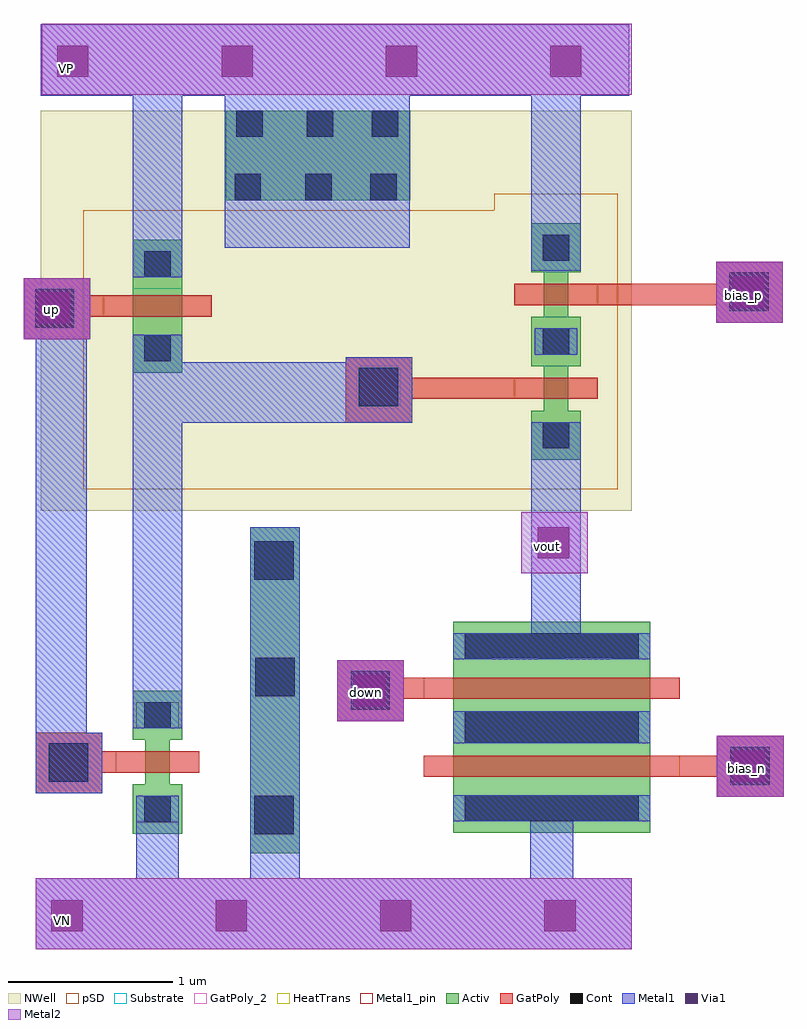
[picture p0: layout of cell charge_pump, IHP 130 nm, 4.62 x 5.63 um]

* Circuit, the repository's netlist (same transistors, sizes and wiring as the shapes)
* Extracted by KLayout with SG13G2 LVS runset on : 11/07/2025 21:27

.SUBCKT charge_pump
M$1 9 5 8 9 sg13_lv_nmos L=0.13u W=1.2u AS=0.408p AD=0.207p PS=3.08u PD=1.545u
M$2 8 2 7 9 sg13_lv_nmos L=0.13u W=1.2u AS=0.207p AD=0.408p PS=1.545u PD=3.08u
M$3 7 3 10 6 sg13_lv_pmos L=0.13u W=0.15u AS=0.1005p AD=0.0555p PS=1.34u
+ PD=0.74u
M$4 10 4 6 6 sg13_lv_pmos L=0.13u W=0.15u AS=0.0555p AD=0.1005p PS=0.74u
+ PD=1.34u
M$5 3 1 6 6 sg13_lv_pmos L=0.13u W=0.3u AS=0.102p AD=0.102p PS=1.28u PD=1.28u
M$6 9 1 3 9 sg13_lv_nmos L=0.13u W=0.15u AS=0.1005p AD=0.1005p PS=1.34u PD=1.34u
.ENDS charge_pump

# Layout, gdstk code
from math import pi, radians
import gdstk
lib = gdstk.Library(unit=1e-6, precision=1e-09)
def R(c, l, rs):  # rectangles x0, y0, x1, y1
    for r in rs: c.add(gdstk.rectangle(r[:2], r[2:], *l))
def A(c, l, x, y, w, h, nx, ny, dx, dy):  # array of equal rectangles
    R(c, l, [(x+i*dx, y+j*dy, x+i*dx+w, y+j*dy+h) for i in range(nx) for j in range(ny)])
Activ = (1, 0)
GatPoly = (5, 0)
GatPoly_2 = (5, 2)
Cont = (6, 0)
Metal1 = (8, 0)
Metal1_pin = (8, 2)
Metal2 = (10, 0)
pSD = (14, 0)
Via1 = (19, 0)
NWell = (31, 0)
Substrate = (40, 0)
HeatTrans = (51, 0)

nmos_1 = lib.new_cell('nmos$1')
R(nmos_1, Activ, [(0,0,0.3,0.3), (0,0,0.81,1.2), (0.51,0,0.81,0.3)])
R(nmos_1, GatPoly, [(0.34,-0.18,0.47,1.38)])
R(nmos_1, GatPoly_2, [(0.34,-0.18,0.47,1.38)])
A(nmos_1, Cont, 0.07, 0.07, 0.16, 0.16, 1, 3, 0, 0.45)
A(nmos_1, Cont, 0.58, 0.07, 0.16, 0.16, 1, 3, 0, 0.45)
R(nmos_1, Metal1, [(0.07,0,0.23,1.2), (0.58,0,0.74,1.2)])
R(nmos_1, Metal1_pin, [(0.07,0,0.23,1.2), (0.58,0,0.74,1.2)])
R(nmos_1, HeatTrans, [(0.34,-0.18,0.47,1.38)])
nmos_1.add(gdstk.Label('nmos', (0.405,0.6), layer=63, texttype=0))
nmos_1.add(gdstk.Label('nmos', (0.405,0.6), layer=51, texttype=0))

pmos = lib.new_cell('pmos')
R(pmos, Activ, [(0,0,0.3,0.3), (0.57,0,0.87,0.3), (0,0.075,0.87,0.225)])
R(pmos, GatPoly, [(0.37,-0.105,0.5,0.405), (0.37,-0.105,0.5,0.405)])
R(pmos, Cont, [(0.07,0.07,0.23,0.23), (0.64,0.07,0.8,0.23)])
R(pmos, Metal1, [(0.07,0.02,0.23,0.28), (0.07,0.02,0.23,0.28), (0.64,0.02,0.8,0.28), (0.64,0.02,0.8,0.28)])
R(pmos, pSD, [(-0.18,-0.225,1.05,0.525)])
R(pmos, NWell, [(-0.31,-0.31,1.18,0.61)])
R(pmos, Substrate, [(0.57,0,0.87,0.3)])
R(pmos, HeatTrans, [(0.37,-0.105,0.5,0.405)])
pmos.add(gdstk.Label('pmos', (0.435,0.15), layer=63, texttype=0))
pmos.add(gdstk.Label('pmos', (0.435,0.15), layer=51, texttype=0))

nmos = lib.new_cell('nmos')
R(nmos, Activ, [(0,0,0.3,0.3), (0.57,0,0.87,0.3), (0,0.075,0.87,0.225)])
R(nmos, GatPoly, [(0.37,-0.105,0.5,0.405)])
R(nmos, GatPoly_2, [(0.37,-0.105,0.5,0.405)])
R(nmos, Cont, [(0.07,0.07,0.23,0.23), (0.64,0.07,0.8,0.23)])
R(nmos, Metal1, [(0.07,0.02,0.23,0.28), (0.64,0.02,0.8,0.28)])
R(nmos, Metal1_pin, [(0.07,0.02,0.23,0.28), (0.64,0.02,0.8,0.28)])
R(nmos, HeatTrans, [(0.37,-0.105,0.5,0.405)])
nmos.add(gdstk.Label('nmos', (0.435,0.15), layer=63, texttype=0))
nmos.add(gdstk.Label('nmos', (0.435,0.15), layer=51, texttype=0))

pmos_1 = lib.new_cell('pmos$1')
R(pmos_1, Activ, [(0,0,0.3,0.3), (0,0,0.81,0.3), (0.51,0,0.81,0.3)])
R(pmos_1, GatPoly, [(0.34,-0.18,0.47,0.48), (0.34,-0.18,0.47,0.48)])
R(pmos_1, Cont, [(0.07,0.07,0.23,0.23), (0.58,0.07,0.74,0.23)])
R(pmos_1, Metal1, [(0.07,0,0.23,0.3), (0.07,0,0.23,0.3), (0.58,0,0.74,0.3), (0.58,0,0.74,0.3)])
R(pmos_1, pSD, [(-0.18,-0.3,0.99,0.6)])
R(pmos_1, NWell, [(-0.31,-0.31,1.12,0.61)])
R(pmos_1, Substrate, [(0.51,0,0.81,0.3)])
R(pmos_1, HeatTrans, [(0.34,-0.18,0.47,0.48)])
pmos_1.add(gdstk.Label('pmos', (0.405,0.15), layer=63, texttype=0))
pmos_1.add(gdstk.Label('pmos', (0.405,0.15), layer=51, texttype=0))

charge_pump = lib.new_cell('charge_pump')
R(charge_pump, Activ, [(-3.015,-3.095,-2.715,-1.11), (-3.165,0.88,-2.04,1.425)])
R(charge_pump, GatPoly, [(-0.175,-2.75,0.23,-2.38), (-4.32,-2.73,-3.915,-2.36), (-0.4,-2.63,-0.175,-2.5), (-3.915,-2.605,-3.835,-2.475), (-2.485,-2.29,-2.08,-1.92), (-2.08,-2.155,-1.96,-2.025), (-2.435,-0.475,-2.03,-0.075), (-2.03,-0.33,-1.955,-0.2), (-1.955,-0.33,-1.41,-0.2), (-4.395,0.035,-3.99,0.405), (-0.18,0.135,0.225,0.505), (-3.99,0.17,-3.91,0.3), (-0.9,0.24,-0.18,0.37)])
R(charge_pump, Cont, [(-2.99,-2.98,-2.75,-2.745), (-1.71,-2.9,-0.65,-2.74), (-0.095,-2.68,0.145,-2.445), (-4.24,-2.66,-4,-2.425), (-1.71,-2.425,-0.65,-2.23), (-2.405,-2.22,-2.165,-1.985), (-2.985,-2.14,-2.745,-1.905), (-1.71,-1.905,-0.65,-1.755), (-2.99,-1.43,-2.75,-1.195), (-2.355,-0.375,-2.115,-0.14), (-4.325,0.105,-4.085,0.34), (-0.1,0.205,0.14,0.44), (-3.11,0.88,-2.95,1.04), (-2.68,0.88,-2.52,1.04), (-2.285,0.88,-2.125,1.04), (-3.1,1.265,-2.94,1.425), (-2.67,1.265,-2.51,1.425), (-2.275,1.265,-2.115,1.425)])
R(charge_pump, Metal1, [(-4.32,-3.68,-0.695,-3.245), (-3.71,-3.245,-3.45,-2.905), (-3.015,-3.245,-2.715,-1.11), (-1.31,-3.245,-1.05,-2.9), (-0.175,-2.75,0.23,-2.38), (-4.32,-2.73,-3.915,-2.36), (-4.32,-2.36,-4.01,0.035), (-3.73,-2.335,-3.43,-0.1), (-2.485,-2.29,-2.08,-1.92), (-1.305,-1.755,-1.005,-0.47), (-3.43,-0.475,-2.435,-0.105), (-2.435,-0.475,-2.03,-0.075), (-4.395,0.035,-3.99,0.405), (-0.18,0.135,0.225,0.505), (-1.305,0.45,-1.005,1.515), (-3.73,0.57,-3.43,1.515), (-3.17,0.59,-2.045,1.515), (-4.29,1.515,-0.71,1.95)])
R(charge_pump, Metal2, [(-4.32,-3.68,-0.695,-3.245), (-0.175,-2.75,0.23,-2.38), (-2.485,-2.29,-2.08,-1.92), (-1.365,-1.39,-0.96,-1.02), (-4.395,0.035,-3.99,0.405), (-0.18,0.135,0.225,0.505), (-4.285,1.52,-0.695,1.955)])
R(charge_pump, pSD, [(-3.015,-3.095,-2.715,-1.11), (-4.03,-0.88,-1.175,0.82)])
A(charge_pump, Via1, -4.225, -3.57, 0.19, 0.19, 4, 1, 1, 0)
A(charge_pump, Via1, -4.19, 1.63, 0.19, 0.19, 4, 1, 1, 0)
R(charge_pump, Via1, [(-0.075,-2.66,0.115,-2.47), (-2.385,-2.2,-2.195,-2.01), (-1.265,-1.3,-1.075,-1.11), (-4.305,0.13,-4.115,0.32), (-0.08,0.225,0.11,0.415)])
R(charge_pump, NWell, [(-4.29,-1.01,-0.695,1.425)])
charge_pump.add(gdstk.Reference(nmos_1, (-0.58,-2.97), rotation=pi/2))
charge_pump.add(gdstk.Reference(nmos_1, (-0.58,-2.495), rotation=pi/2))
charge_pump.add(gdstk.Reference(pmos, (-1.005,-0.13), rotation=pi/2))
charge_pump.add(gdstk.Reference(pmos, (-1.005,-0.7), rotation=pi/2))
charge_pump.add(gdstk.Reference(nmos, (-3.43,-2.975), rotation=pi/2))
charge_pump.add(gdstk.Reference(pmos_1, (-3.43,-0.17), rotation=pi/2))
charge_pump.add(gdstk.Label('bias_n', (0.005,-2.58), layer=10, texttype=2))
charge_pump.add(gdstk.Label('down', (-2.305,-2.115), layer=10, texttype=2))
charge_pump.add(gdstk.Label('vout', (-1.205,-1.225), layer=10, texttype=2))
charge_pump.add(gdstk.Label('bias_p', (-0.015,0.3), layer=10, texttype=2))
charge_pump.add(gdstk.Label('up', (-4.225,0.215), layer=10, texttype=2))
charge_pump.add(gdstk.Label('VP', (-4.135,1.68), layer=10, texttype=2))
charge_pump.add(gdstk.Label('VN', (-4.155,-3.505), layer=10, texttype=2))

lib.write_gds('charge_pump.gds')
